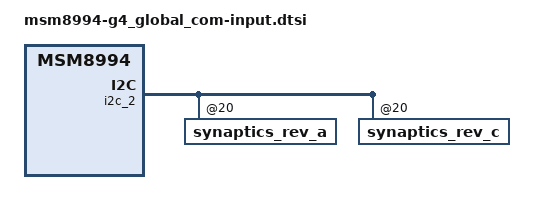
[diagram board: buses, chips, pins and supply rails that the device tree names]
/* Copyright (c) 2014, The Linux Foundation. All rights reserved.
 *
 * This program is free software; you can redistribute it and/or modify
 * it under the terms of the GNU General Public License version 2 and
 * only version 2 as published by the Free Software Foundation.
 *
 * This program is distributed in the hope that it will be useful,
 * but WITHOUT ANY WARRANTY; without even the implied warranty of
 * MERCHANTABILITY or FITNESS FOR A PARTICULAR PURPOSE.  See the
 * GNU General Public License for more details.
 */

#include "../msm8994-g4_common/msm8994-common-input.dtsi"

&i2c_2 {
	synaptics_rev_a@20 {
		status = "ok";
		revision = "rev_0...rev_a";
	};
	synaptics_rev_c@20 {
                status = "ok";
                revision = "rev_b...";
	};
};
